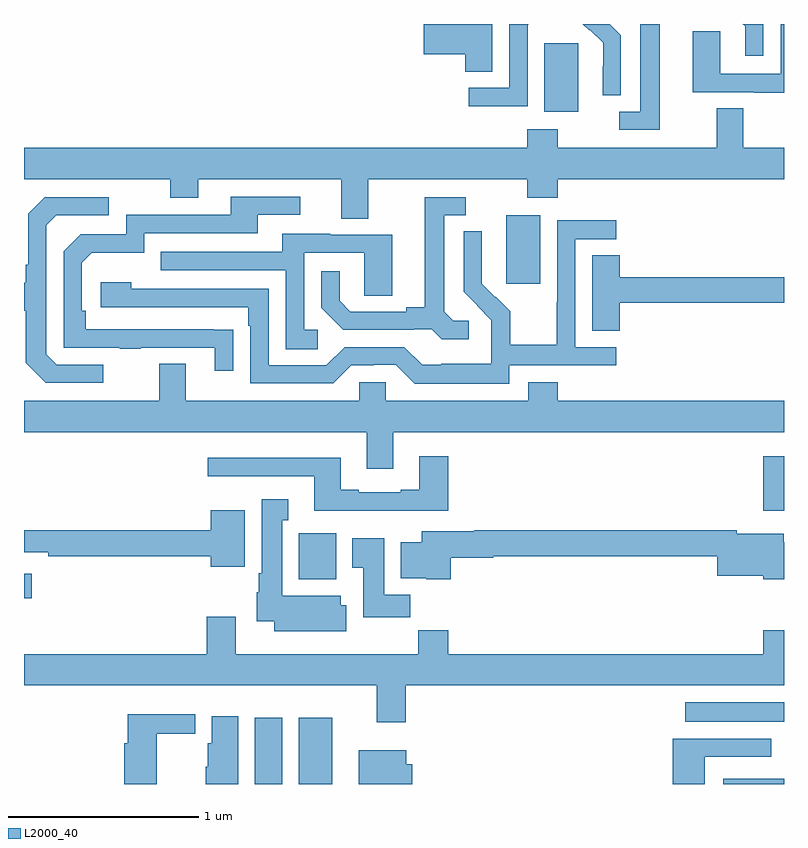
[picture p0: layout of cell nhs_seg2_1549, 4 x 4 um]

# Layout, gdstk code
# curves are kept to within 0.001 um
import gdstk
lib = gdstk.Library(unit=1e-6, precision=1e-09)
def R(c, l, rs):  # rectangles x0, y0, x1, y1
    for r in rs: c.add(gdstk.rectangle(r[:2], r[2:], *l))
def P(c, l, *ps):  # polygons
    for p in ps: c.add(gdstk.Polygon(p, *l))
L2000_40 = (2000, 40)

nhs_seg2_1549 = lib.new_cell('nhs_seg2_1549')
R(nhs_seg2_1549, L2000_40, [(192.215,629.8,192.358,630.148), (192.446,629.8,192.622,630.148), (194.681,629.8,195,629.827), (194.481,630.128,195,630.229), (191,630.778,191.041,630.907), (192.446,630.878,192.643,631.12), (194.891,631.238,195,631.525), (193.538,632.433,193.717,632.794), (193.739,633.338,193.918,633.699)])
P(nhs_seg2_1549, L2000_40, [(194.142,633.742),(194.084,633.8),(193.942,633.8),(193.974,633.768),(193.977,633.771),(194.048,633.701),(194.048,633.578),(194.046,633.578),(194.046,633.424),(194.142,633.424)],
  [(193.65,633.796),(193.653,633.796),(193.653,633.8),(193.554,633.8),(193.554,633.465),(193.341,633.465),(193.341,633.367),(193.65,633.367)],
  [(193.465,633.8),(193.104,633.8),(193.104,633.641),(193.322,633.641),(193.322,633.55),(193.465,633.55)],
  [(195,633.8),(194.982,633.8),(194.982,633.537),(194.664,633.537),(194.664,633.761),(194.519,633.761),(194.519,633.441),(194.843,633.441),(194.843,633.437),(195,633.437)],
  [(194.892,633.8),(194.784,633.8),(194.795,633.789),(194.795,633.633),(194.892,633.633)],
  [(194.347,633.8),(194.243,633.8),(194.243,633.339),(194.133,633.339),(194.133,633.243),(194.347,633.243)],
  [(192.811,632.984),(193.648,632.984),(193.648,632.885),(193.808,632.885),(193.808,632.984),(195,632.984),(195,633.148),(194.785,633.148),(194.785,633.356),(194.645,633.356),(194.645,633.148),(193.809,633.148),(193.809,633.247),(193.649,633.247),(193.649,633.148),(191,633.148),(191,632.984),(191.77,632.984),(191.77,632.885),(191.917,632.885),(191.917,632.984),(192.671,632.984),(192.671,632.776),(192.811,632.776)],
  [(192.101,632.192),(191.324,632.193),(191.324,632.29),(191.304,632.29),(191.304,632.544),(191.357,632.597),(191.634,632.597),(191.634,632.7),(192.229,632.7),(192.229,632.796),(192.454,632.796),(192.454,632.892),(192.089,632.892),(192.089,632.796),(191.538,632.796),(191.538,632.694),(191.298,632.694),(191.208,632.604),(191.208,632.097),(191.503,632.097),(191.503,632.092),(191.615,632.092),(191.615,632.097),(192.005,632.097),(192.005,631.974),(192.101,631.974)],
  [(191.416,632.007),(191.172,632.007),(191.118,632.061),(191.118,632.742),(191.169,632.793),(191.446,632.793),(191.446,632.889),(191.109,632.889),(191.022,632.802),(191.022,632.533),(191.01,632.533),(191.01,632.437),(191,632.437),(191,632.29),(191.01,632.29),(191.01,632.017),(191.115,631.911),(191.416,631.911)],
  [(193.342,632.238),(193.26,632.238),(193.213,632.285),(193.213,632.793),(193.324,632.793),(193.324,632.889),(193.109,632.889),(193.109,632.309),(193.013,632.309),(193.013,632.286),(192.718,632.286),(192.661,632.343),(192.661,632.5),(192.564,632.5),(192.564,632.306),(192.68,632.19),(193.052,632.19),(193.052,632.193),(193.146,632.193),(193.198,632.141),(193.342,632.141)],
  [(193.554,632.004),(194.116,632.004),(194.116,632.1),(193.902,632.1),(193.902,632.667),(194.116,632.667),(194.116,632.766),(193.806,632.766),(193.806,632.336),(193.804,632.336),(193.804,632.113),(193.559,632.113),(193.559,632.287),(193.482,632.364),(193.479,632.361),(193.409,632.432),(193.41,632.708),(193.314,632.708),(193.314,632.39),(193.46,632.242),(193.46,632.145),(193.458,632.145),(193.458,632.011),(193.195,632.011),(193.195,632.007),(193.095,632.007),(193.002,632.1),(192.687,632.1),(192.591,632.004),(192.288,632.004),(192.288,632.406),(191.564,632.406),(191.564,632.44),(191.403,632.44),(191.403,632.31),(192.179,632.31),(192.179,632.213),(192.192,632.213),(192.192,631.908),(192.627,631.908),(192.723,632.004),(192.842,632.004),(192.842,632.007),(192.957,632.007),(193.057,631.907),(193.554,631.907)],
  [(192.547,632.19),(192.474,632.19),(192.474,632.595),(192.792,632.595),(192.792,632.371),(192.937,632.371),(192.937,632.691),(192.613,632.691),(192.613,632.695),(192.359,632.695),(192.359,632.601),(191.719,632.601),(191.719,632.505),(192.378,632.505),(192.378,632.089),(192.547,632.089)],
  [(194.135,632.332),(195,632.332),(195,632.468),(194.135,632.468),(194.135,632.582),(193.991,632.582),(193.991,632.185),(194.135,632.185)],
  [(192.943,631.652),(195,631.652),(195,631.816),(193.808,631.816),(193.808,631.915),(193.655,631.915),(193.655,631.816),(192.903,631.816),(192.903,631.914),(192.765,631.914),(192.765,631.816),(191.851,631.816),(191.851,632.011),(191.711,632.011),(191.711,631.816),(191,631.816),(191,631.652),(192.803,631.652),(192.803,631.458),(192.943,631.458)],
  [(193.232,631.525),(193.079,631.525),(193.079,631.348),(192.983,631.348),(192.983,631.335),(192.763,631.335),(192.763,631.348),(192.667,631.348),(192.667,631.516),(191.967,631.516),(191.967,631.419),(192.527,631.419),(192.527,631.238),(193.232,631.238)],
  [(192.697,630.74),(192.667,630.74),(192.667,630.79),(192.358,630.79),(192.358,631.187),(192.391,631.187),(192.391,631.3),(192.251,631.3),(192.251,630.91),(192.236,630.91),(192.236,630.81),(192.224,630.81),(192.224,630.656),(192.317,630.656),(192.317,630.605),(192.697,630.605)],
  [(192.163,631.24),(191.984,631.24),(191.984,631.136),(191,631.136),(191,631.02),(191.128,631.02),(191.128,631),(191.984,631),(191.984,630.944),(192.163,630.944)],
  [(193.247,630.992),(193.47,630.992),(193.47,631),(194.648,631),(194.648,630.896),(194.892,630.896),(194.892,630.878),(195,630.878),(195,631.072),(194.998,631.072),(194.998,631.117),(194.752,631.117),(194.752,631.136),(193.37,631.136),(193.37,631.129),(193.094,631.129),(193.094,631.072),(192.983,631.072),(192.983,630.884),(193.116,630.884),(193.116,630.878),(193.247,630.878)],
  [(193.034,630.796),(192.895,630.796),(192.895,631.093),(192.728,631.093),(192.728,630.937),(192.785,630.937),(192.785,630.678),(193.034,630.678)],
  [(193.01,630.32),(195,630.32),(195,630.608),(194.891,630.608),(194.891,630.484),(193.232,630.484),(193.232,630.608),(193.075,630.608),(193.075,630.484),(192.115,630.484),(192.115,630.679),(191.963,630.679),(191.963,630.484),(191,630.484),(191,630.32),(192.857,630.32),(192.857,630.126),(193.01,630.126)],
  [(191.698,630.064),(191.902,630.064),(191.902,630.166),(191.546,630.166),(191.546,630.015),(191.528,630.015),(191.528,629.8),(191.698,629.8)],
  [(192.127,630.157),(191.987,630.157),(191.987,630.015),(191.966,630.015),(191.966,629.892),(191.957,629.892),(191.957,629.8),(192.127,629.8)],
  [(194.584,629.943),(194.932,629.943),(194.932,630.039),(194.414,630.039),(194.414,629.8),(194.584,629.8)],
  [(193.043,629.904),(193.012,629.904),(193.012,629.977),(192.761,629.977),(192.761,629.8),(193.043,629.8)])

lib.write_gds('nhs_seg2_1549.gds')
